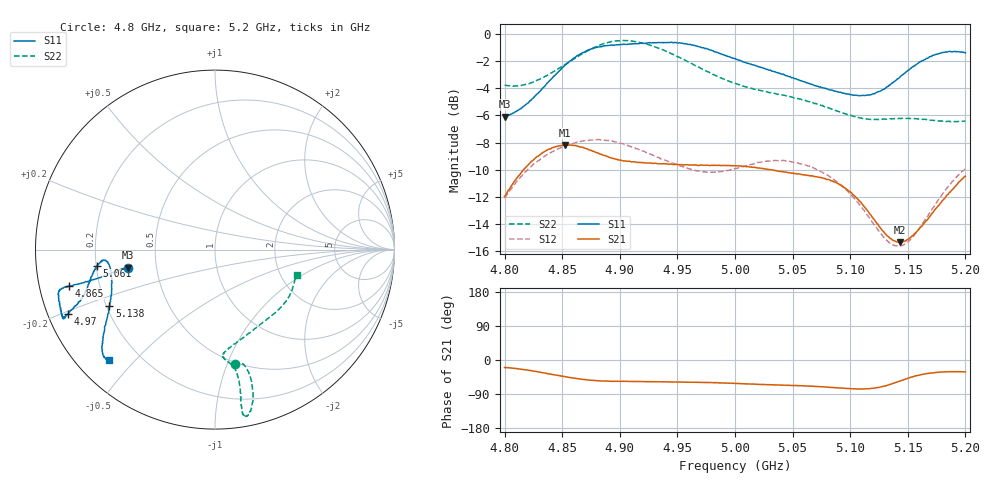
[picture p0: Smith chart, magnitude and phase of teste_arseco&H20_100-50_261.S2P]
! Network Analyzer HP8722D
! Hewlett-Packard
! Data name: Linha & Wilkinson
! Saver's name: Rodrigo Anjos
! Comments: Teste da utilização de aquisição
! continua pelo VNA HP8722D
! Time and date: 6/5/2025 14:44
!  Frequency  S11  S21  S12  S22
# HZ  S  MA R 50
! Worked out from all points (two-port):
!   401 points, 4.8 GHz to 5.2 GHz, reference 50 ohm
!   highest |S21| = -8.17 dB at 4.852 GHz (marker M1); lowest = -15.3 dB at 5.143 GHz (marker M2)
!   |S21| within 3 dB of the highest: 4.806 GHz to 5.093 GHz (286.7 MHz wide, 5.79 % of centre); 5.191682 GHz to end of sweep
!   lowest |S11| = -6.1 dB at 4.8 GHz (marker M3), VSWR 2.97, Z = 17 - j4.56 ohm
!   |S11| at or under -10 dB: nowhere
!   |S22| runs from -6.5 to -0.5 dB; largest |S21 - S12| = 0.62
!   S11 on the Smith chart (normalised r, x): 4.8 GHz: 0.34, -0.09; 4.865 GHz: 0.09, -0.12; 4.97 GHz: 0.06, -0.21; 5.061 GHz: 0.20, -0.07; 5.138 GHz: 0.21, -0.24; 5.2 GHz: 0.09, -0.42
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4.8e9  0.4964 -168.2  0.2523 -19.7  0.2489 -140.8  0.6473 -80.3
4.823e9  0.5705 -167.6  0.3385 -28.2  0.3249 -143.8  0.6611 -76.1
4.852e9  0.7634 -165.9  0.3905 -43.9  0.3862 -149.5  0.7693 -74.6
4.865e9  0.8391 -166.1  0.3845 -49.9  0.4012 -151.7  0.8323 -75.2
4.867e9  0.8482 -165.8  0.3835 -50.9  0.4032 -152.0  0.8432 -75.5
4.88e9  0.8905 -165.5  0.3656 -54.7  0.4087 -154.2  0.8979 -76.7
4.899e9  0.9123 -162.9  0.3441 -56.5  0.3975 -156.7  0.9429 -79.1
4.934e9  0.9287 -156.5  0.333 -57.5  0.3509 -155.7  0.8831 -80.5
4.97e9  0.8933 -156.4  0.3294 -59.2  0.3126 -147.0  0.7469 -79.6
5e9  0.8096 -159.1  0.3273 -61.8  0.3199 -137.2  0.657 -81.3
5.038e9  0.7174 -166.3  0.3124 -66.1  0.3423 -134.5  0.5996 -85.8
5.061e9  0.6648 -172.0  0.3032 -68.4  0.3296 -136.3  0.5693 -83.9
5.067e9  0.6516 -173.0  0.3011 -69.1  0.323 -136.9  0.559 -82.7
5.088e9  0.6134 -174.4  0.2837 -73.2  0.2869 -138.6  0.5216 -74.2
5.103e9  0.595 -171.6  0.2553 -76.2  0.25 -138.7  0.498 -65.2
5.117e9  0.596 -165.0  0.2181 -75.6  0.2094 -135.1  0.4846 -55.1
5.134e9  0.6478 -154.2  0.1781 -65.3  0.1704 -120.8  0.4869 -43.4
5.138e9  0.6675 -151.8  0.1738 -61.1  0.1671 -115.6  0.4873 -40.7
5.143e9  0.6926 -149.1  0.1712 -55.9  0.1658 -108.9  0.4887 -38.1
5.154e9  0.7555 -144.5  0.1814 -44.7  0.1791 -95.0  0.4879 -32.4
5.173e9  0.8351 -138.9  0.2242 -33.3  0.2327 -80.8  0.4801 -24.3
5.2e9  0.8515 -133.7  0.2999 -31.4  0.319 -76.9  0.4777 -17.5
